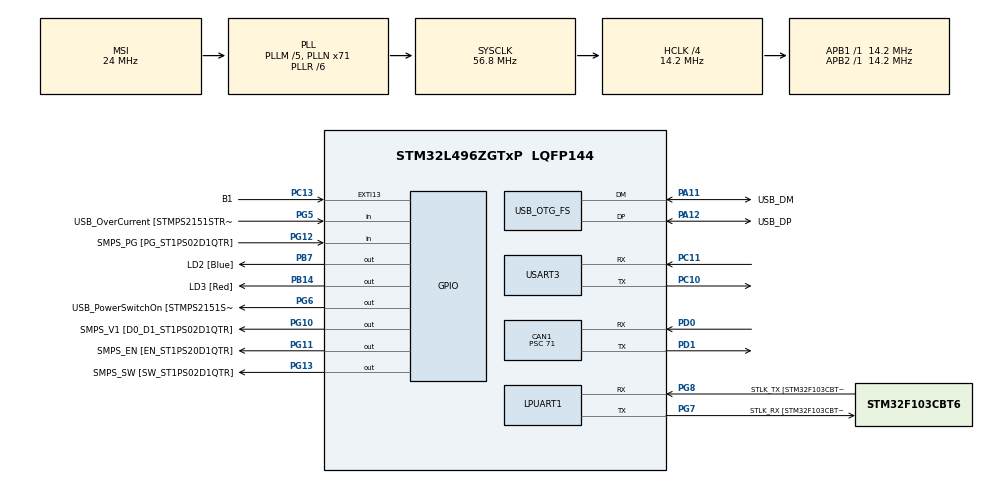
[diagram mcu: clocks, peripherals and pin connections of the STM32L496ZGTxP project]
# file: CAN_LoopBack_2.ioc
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CAN1.BS1=CAN_BS1_8TQ
CAN1.CalculateBaudRate=20000
CAN1.CalculateTimeBit=50000
CAN1.CalculateTimeQuantum=5000.0
CAN1.Mode=CAN_MODE_LOOPBACK
CAN1.NART=ENABLE
CAN1.Prescaler=71
Mcu.Family=STM32L4
Mcu.Name=STM32L496ZGTxP
Mcu.Package=LQFP144
NVIC.OTG_FS_IRQn=true\:0\:0\:false\:false\:true\:true\:true\:true
NVIC.PriorityGroup=NVIC_PRIORITYGROUP_4
PA10.GPIO_Label=USB_ID
PA10.Signal=USB_OTG_FS_ID
PA11.GPIO_Label=USB_DM
PA11.Mode=Host_Only
PA11.Signal=USB_OTG_FS_DM
PA12.GPIO_Label=USB_DP
PA12.Mode=Host_Only
PA12.Signal=USB_OTG_FS_DP
PA13\ (JTMS/SWDIO).GPIO_Label=TMS
PA13\ (JTMS/SWDIO).Mode=Trace_Asynchronous_SW
PA13\ (JTMS/SWDIO).Signal=SYS_JTMS-SWDIO
PA14\ (JTCK/SWCLK).GPIO_Label=TCK
PA14\ (JTCK/SWCLK).Mode=Trace_Asynchronous_SW
PA14\ (JTCK/SWCLK).Signal=SYS_JTCK-SWCLK
PA8.GPIO_Label=USB_SOF [TP1]
PA8.Signal=USB_OTG_FS_SOF
PA9.GPIO_Label=USB_VBUS
PA9.Signal=USB_OTG_FS_VBUS
PB14.GPIO_Label=LD3 [Red]
PB14.Signal=GPIO_Output
PB3\ (JTDO/TRACESWO).GPIO_Label=SWO
PB3\ (JTDO/TRACESWO).Mode=Trace_Asynchronous_SW
PB3\ (JTDO/TRACESWO).Signal=SYS_JTDO-SWO
PB7.GPIO_Label=LD2 [Blue]
PB7.Signal=GPIO_Output
PC10.Mode=Asynchronous
PC10.Signal=USART3_TX
PC11.Mode=Asynchronous
PC11.Signal=USART3_RX
PC13.GPIO_Label=B1
PC13.Signal=GPXTI13
PC14-OSC32_IN\ (PC14).Mode=LSE-External-Oscillator
PC14-OSC32_IN\ (PC14).Signal=RCC_OSC32_IN
PC15-OSC32_OUT\ (PC15).Mode=LSE-External-Oscillator
PC15-OSC32_OUT\ (PC15).Signal=RCC_OSC32_OUT
PD0.Mode=CAN_Activate
PD0.Signal=CAN1_RX
PD1.Mode=CAN_Activate
PD1.Signal=CAN1_TX
PG10.GPIO_Label=SMPS_V1 [D0_D1_ST1PS02D1QTR]
PG10.Signal=GPIO_Output
PG11.GPIO_Label=SMPS_EN [EN_ST1PS20D1QTR]
PG11.Signal=GPIO_Output
PG12.GPIO_Label=SMPS_PG [PG_ST1PS02D1QTR]
PG12.Signal=GPIO_Input
PG13.GPIO_Label=SMPS_SW [SW_ST1PS02D1QTR]
PG13.Signal=GPIO_Output
PG5.GPIO_Label=USB_OverCurrent [STMPS2151STR_FAULT]
PG5.Signal=GPIO_Input
PG6.GPIO_Label=USB_PowerSwitchOn [STMPS2151STR_EN]
PG6.Signal=GPIO_Output
PG7.GPIO_Label=STLK_RX [STM32F103CBT6_PA3]
PG7.Mode=Asynchronous
PG7.Signal=LPUART1_TX
PG8.GPIO_Label=STLK_TX [STM32F103CBT6_PA2]
PG8.Mode=Asynchronous
PG8.Signal=LPUART1_RX
PH0-OSC_IN\ (PH0).GPIO_Label=MCO
PH0-OSC_IN\ (PH0).Signal=RCC_OSC_IN
PH1-OSC_OUT\ (PH1).Signal=RCC_OSC_OUT
ProjectManager.HeapSize=0x200
ProjectManager.StackSize=0x400
ProjectManager.TargetToolchain=STM32CubeIDE
RCC.48MHZClocksFreq_Value=24000000
RCC.ADCFreq_Value=48000000
RCC.AHBCLKDivider=RCC_SYSCLK_DIV4
RCC.AHBFreq_Value=14200000
RCC.APB1Freq_Value=14200000
RCC.APB1TimFreq_Value=14200000
RCC.APB2Freq_Value=14200000
RCC.APB2TimFreq_Value=14200000
RCC.CortexFreq_Value=14200000
RCC.HCLKFreq_Value=14200000
RCC.HSE_VALUE=8000000
RCC.HSI48_VALUE=48000000
RCC.HSI_VALUE=16000000
RCC.MSIClockRange=RCC_MSIRANGE_9
RCC.MSI_VALUE=24000000
RCC.PLLM=5
RCC.PLLMUL=RCC_PLL_MUL9
RCC.PLLN=71
RCC.PLLR=RCC_PLLR_DIV6
RCC.PLLSAI1N=20
RCC.PRESCALERUSB=RCC_USBCLKSOURCE_PLL_DIV1_5
RCC.SYSCLKFreq_VALUE=56800000
RCC.SYSCLKSource=RCC_SYSCLKSOURCE_PLLCLK
RCC.SYSCLKSourceVirtual=RCC_SYSCLKSOURCE_PLLCLK
RCC.USBFreq_Value=48000000
RCC.VCOOutputFreq_Value=340800000
USART3.VirtualMode-Asynchronous=VM_ASYNC
USB_HOST.BSP.number=1
USB_HOST.USBH_HandleTypeDef=hUsbHostFS
USB_HOST.VirtualModeFS=Audio
USB_HOST0.BSP.STBoard=false
USB_HOST0.BSP.api=UnknownBspDriver
USB_HOST0.BSP.instance=PG6
USB_HOST0.BSP.ip=GPIO
USB_HOST0.BSP.mode=Output
USB_HOST0.BSP.name=Drive_VBUS_FS
USB_HOST0.BSP.solution=PG6
USB_OTG_FS.VirtualMode=Host_Only
USB_OTG_FS.phy_itface=HCD_PHY_EMBEDDED
VP_USB_HOST_VS_USB_HOST_AUDIO_FS.Mode=AUDIO_FS
board=NUCLEO-L496ZG-P

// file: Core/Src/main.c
/* USER CODE BEGIN Header */
/**
  ******************************************************************************
  * @file           : main.c
  * @brief          : Main program body
  ******************************************************************************
  * @attention
  *
  * Copyright (c) 2023 STMicroelectronics.
  * All rights reserved.
  *
  * This software is licensed under terms that can be found in the LICENSE file
  * in the root directory of this software component.
  * If no LICENSE file comes with this software, it is provided AS-IS.
  *
  ******************************************************************************
  */
/* USER CODE END Header */
#include "main.h"
#include "usb_host.h"

/* USER CODE BEGIN Includes */
#include<string.h>
#include<stdio.h>
/* USER CODE END Includes */

CAN_HandleTypeDef hcan1;

UART_HandleTypeDef hlpuart1;
UART_HandleTypeDef huart3;

void SystemClock_Config(void);
static void MX_GPIO_Init(void);
static void MX_LPUART1_UART_Init(void);
static void MX_CAN1_Init(void);
static void MX_USART3_UART_Init(void);
void MX_USB_HOST_Process(void);

/* USER CODE BEGIN PFP */
void CAN1_Tx(void);
void CAN1_Rx(void);
void CAN1_Filter_Config(void);
/* USER CODE END PFP */

int main(void)
{
  /* USER CODE BEGIN 1 */
	char msg[50];
  /* USER CODE END 1 */

  /* MCU Configuration--------------------------------------------------------*/

  /* Reset of all peripherals, Initializes the Flash interface and the Systick. */
  HAL_Init();

  /* Configure the system clock */
  SystemClock_Config();

  /* Initialize all configured peripherals */
  MX_GPIO_Init();
  MX_LPUART1_UART_Init();
  MX_USB_HOST_Init();
  MX_CAN1_Init();
  MX_USART3_UART_Init();
  /* USER CODE BEGIN 2 */
  CAN1_Filter_Config();

  HAL_GPIO_WritePin(GPIOB, GPIO_PIN_7, GPIO_PIN_SET);
    strcpy(msg,"Application is Running....\r\n");
    HAL_UART_Transmit(&huart3, (uint8_t*)msg, strlen(msg), HAL_MAX_DELAY);

    if(HAL_CAN_Start(&hcan1) != HAL_OK){
  	  Error_Handler();
    }

    CAN1_Tx();

    CAN1_Rx();

  /* USER CODE END 2 */

  /* Infinite loop */
  while (1)
  {
    MX_USB_HOST_Process();

  }
}

void SystemClock_Config(void)
{
  RCC_OscInitTypeDef RCC_OscInitStruct = {0};
  RCC_ClkInitTypeDef RCC_ClkInitStruct = {0};

  /** Configure the main internal regulator output voltage
  */
  if (HAL_PWREx_ControlVoltageScaling(PWR_REGULATOR_VOLTAGE_SCALE1) != HAL_OK)
  {
    Error_Handler();
  }

  /** Configure LSE Drive Capability
  */
  HAL_PWR_EnableBkUpAccess();
  __HAL_RCC_LSEDRIVE_CONFIG(RCC_LSEDRIVE_LOW);

  /** Initializes the RCC Oscillators according to the specified parameters
  * in the RCC_OscInitTypeDef structure.
  */
  RCC_OscInitStruct.OscillatorType = RCC_OSCILLATORTYPE_LSE|RCC_OSCILLATORTYPE_MSI;
  RCC_OscInitStruct.LSEState = RCC_LSE_ON;
  RCC_OscInitStruct.MSIState = RCC_MSI_ON;
  RCC_OscInitStruct.MSICalibrationValue = 0;
  RCC_OscInitStruct.MSIClockRange = RCC_MSIRANGE_9;
  RCC_OscInitStruct.PLL.PLLState = RCC_PLL_ON;
  RCC_OscInitStruct.PLL.PLLSource = RCC_PLLSOURCE_MSI;
  RCC_OscInitStruct.PLL.PLLM = 5;
  RCC_OscInitStruct.PLL.PLLN = 71;
  RCC_OscInitStruct.PLL.PLLP = RCC_PLLP_DIV2;
  RCC_OscInitStruct.PLL.PLLQ = RCC_PLLQ_DIV2;
  RCC_OscInitStruct.PLL.PLLR = RCC_PLLR_DIV6;
  if (HAL_RCC_OscConfig(&RCC_OscInitStruct) != HAL_OK)
  {
    Error_Handler();
  }

  /** Initializes the CPU, AHB and APB buses clocks
  */
  RCC_ClkInitStruct.ClockType = RCC_CLOCKTYPE_HCLK|RCC_CLOCKTYPE_SYSCLK
                              |RCC_CLOCKTYPE_PCLK1|RCC_CLOCKTYPE_PCLK2;
  RCC_ClkInitStruct.SYSCLKSource = RCC_SYSCLKSOURCE_PLLCLK;
  RCC_ClkInitStruct.AHBCLKDivider = RCC_SYSCLK_DIV4;
  RCC_ClkInitStruct.APB1CLKDivider = RCC_HCLK_DIV1;
  RCC_ClkInitStruct.APB2CLKDivider = RCC_HCLK_DIV1;

  if (HAL_RCC_ClockConfig(&RCC_ClkInitStruct, FLASH_LATENCY_0) != HAL_OK)
  {
    Error_Handler();
  }

  /** Enable MSI Auto calibration
  */
  HAL_RCCEx_EnableMSIPLLMode();
}

static void MX_CAN1_Init(void)
{

  hcan1.Instance = CAN1;
  hcan1.Init.Prescaler = 71;
  hcan1.Init.Mode = CAN_MODE_LOOPBACK;
  hcan1.Init.SyncJumpWidth = CAN_SJW_1TQ;
  hcan1.Init.TimeSeg1 = CAN_BS1_8TQ;
  hcan1.Init.TimeSeg2 = CAN_BS2_1TQ;
  hcan1.Init.TimeTriggeredMode = DISABLE;
  hcan1.Init.AutoBusOff = DISABLE;
  hcan1.Init.AutoWakeUp = DISABLE;
  hcan1.Init.AutoRetransmission = ENABLE;
  hcan1.Init.ReceiveFifoLocked = DISABLE;
  hcan1.Init.TransmitFifoPriority = DISABLE;
  if (HAL_CAN_Init(&hcan1) != HAL_OK)
  {
    Error_Handler();
  }

}

static void MX_LPUART1_UART_Init(void)
{

  hlpuart1.Instance = LPUART1;
  hlpuart1.Init.BaudRate = 209700;
  hlpuart1.Init.WordLength = UART_WORDLENGTH_7B;
  hlpuart1.Init.StopBits = UART_STOPBITS_1;
  hlpuart1.Init.Parity = UART_PARITY_NONE;
  hlpuart1.Init.Mode = UART_MODE_TX_RX;
  hlpuart1.Init.HwFlowCtl = UART_HWCONTROL_NONE;
  hlpuart1.Init.OneBitSampling = UART_ONE_BIT_SAMPLE_DISABLE;
  hlpuart1.AdvancedInit.AdvFeatureInit = UART_ADVFEATURE_NO_INIT;
  if (HAL_UART_Init(&hlpuart1) != HAL_OK)
  {
    Error_Handler();
  }

}

static void MX_USART3_UART_Init(void)
{

  huart3.Instance = USART3;
  huart3.Init.BaudRate = 115200;
  huart3.Init.WordLength = UART_WORDLENGTH_8B;
  huart3.Init.StopBits = UART_STOPBITS_1;
  huart3.Init.Parity = UART_PARITY_NONE;
  huart3.Init.Mode = UART_MODE_TX_RX;
  huart3.Init.HwFlowCtl = UART_HWCONTROL_NONE;
  huart3.Init.OverSampling = UART_OVERSAMPLING_16;
  huart3.Init.OneBitSampling = UART_ONE_BIT_SAMPLE_DISABLE;
  huart3.AdvancedInit.AdvFeatureInit = UART_ADVFEATURE_NO_INIT;
  if (HAL_UART_Init(&huart3) != HAL_OK)
  {
    Error_Handler();
  }

}

static void MX_GPIO_Init(void)
{
  GPIO_InitTypeDef GPIO_InitStruct = {0};

  /* GPIO Ports Clock Enable */
  __HAL_RCC_GPIOC_CLK_ENABLE();
  __HAL_RCC_GPIOH_CLK_ENABLE();
  __HAL_RCC_GPIOB_CLK_ENABLE();
  __HAL_RCC_GPIOG_CLK_ENABLE();
  HAL_PWREx_EnableVddIO2();
  __HAL_RCC_GPIOA_CLK_ENABLE();
  __HAL_RCC_GPIOD_CLK_ENABLE();

  /*Configure GPIO pin Output Level */
  HAL_GPIO_WritePin(GPIOB, LD3_Pin|LD2_Pin, GPIO_PIN_RESET);

  /*Configure GPIO pin Output Level */
  HAL_GPIO_WritePin(GPIOG, USB_PowerSwitchOn_Pin|SMPS_V1_Pin|SMPS_EN_Pin|SMPS_SW_Pin, GPIO_PIN_RESET);

  /*Configure GPIO pin : B1_Pin */
  GPIO_InitStruct.Pin = B1_Pin;
  GPIO_InitStruct.Mode = GPIO_MODE_IT_RISING;
  GPIO_InitStruct.Pull = GPIO_NOPULL;
  HAL_GPIO_Init(B1_GPIO_Port, &GPIO_InitStruct);

  /*Configure GPIO pins : LD3_Pin LD2_Pin */
  GPIO_InitStruct.Pin = LD3_Pin|LD2_Pin;
  GPIO_InitStruct.Mode = GPIO_MODE_OUTPUT_PP;
  GPIO_InitStruct.Pull = GPIO_NOPULL;
  GPIO_InitStruct.Speed = GPIO_SPEED_FREQ_LOW;
  HAL_GPIO_Init(GPIOB, &GPIO_InitStruct);

  /*Configure GPIO pins : USB_OverCurrent_Pin SMPS_PG_Pin */
  GPIO_InitStruct.Pin = USB_OverCurrent_Pin|SMPS_PG_Pin;
  GPIO_InitStruct.Mode = GPIO_MODE_INPUT;
  GPIO_InitStruct.Pull = GPIO_NOPULL;
  HAL_GPIO_Init(GPIOG, &GPIO_InitStruct);

  /*Configure GPIO pins : USB_PowerSwitchOn_Pin SMPS_V1_Pin SMPS_EN_Pin SMPS_SW_Pin */
  GPIO_InitStruct.Pin = USB_PowerSwitchOn_Pin|SMPS_V1_Pin|SMPS_EN_Pin|SMPS_SW_Pin;
  GPIO_InitStruct.Mode = GPIO_MODE_OUTPUT_PP;
  GPIO_InitStruct.Pull = GPIO_NOPULL;
  GPIO_InitStruct.Speed = GPIO_SPEED_FREQ_LOW;
  HAL_GPIO_Init(GPIOG, &GPIO_InitStruct);

}

/* USER CODE BEGIN 4 */
void CAN1_Tx(void){

	CAN_TxHeaderTypeDef TxHeader;
	uint32_t TxMailbox;
	uint8_t our_msg[5]={'H','E','L','L','O'};
	char msg[50];

	TxHeader.DLC = 5;
	TxHeader.StdId = 0x65D;
	TxHeader.IDE = CAN_ID_STD;
	TxHeader.RTR = CAN_RTR_DATA ;

	if(HAL_CAN_AddTxMessage(&hcan1, &TxHeader, our_msg, &TxMailbox) != HAL_OK){
		Error_Handler();
	}

	while(HAL_CAN_IsTxMessagePending(&hcan1,TxMailbox));

	strcpy(msg,"Message Transmitted\r\n");
	HAL_UART_Transmit(&huart3, (uint8_t*)msg, strlen(msg), HAL_MAX_DELAY);

}

void CAN1_Rx(void){
	CAN_RxHeaderTypeDef RxHeader;
	uint8_t rcvd_msg[20];
	char msg[50];

	while(! HAL_CAN_GetRxFifoFillLevel(&hcan1,CAN_RX_FIFO0));

    if (HAL_CAN_GetRxMessage(&hcan1, CAN_RX_FIFO0 , &RxHeader, rcvd_msg) != HAL_OK){
    	Error_Handler();
    }

    sprintf(msg,"Message Received : %s \r\n",rcvd_msg);
    HAL_UART_Transmit(&huart3, (uint8_t*)msg, strlen(msg), HAL_MAX_DELAY);

}

void CAN1_Filter_Config(void){
	CAN_FilterTypeDef can1_filter_init;

	can1_filter_init.FilterActivation = CAN_FILTER_ENABLE;
	can1_filter_init.FilterBank = 0;
	can1_filter_init.FilterFIFOAssignment = CAN_FILTER_FIFO0;
	can1_filter_init.FilterIdHigh = 0x0000;
	can1_filter_init.FilterIdLow = 0x0000;
	can1_filter_init.FilterMaskIdHigh = 0x0000;
	can1_filter_init.FilterMaskIdLow = 0x0000;
	can1_filter_init.FilterMode = CAN_FILTERMODE_IDMASK;
	can1_filter_init.FilterScale = CAN_FILTERSCALE_32BIT;

	if( HAL_CAN_ConfigFilter(&hcan1, &can1_filter_init) != HAL_OK){
		Error_Handler();
	}
}
/* USER CODE END 4 */

void Error_Handler(void)
{
  __disable_irq();
  while (1)
  {
  }
}
